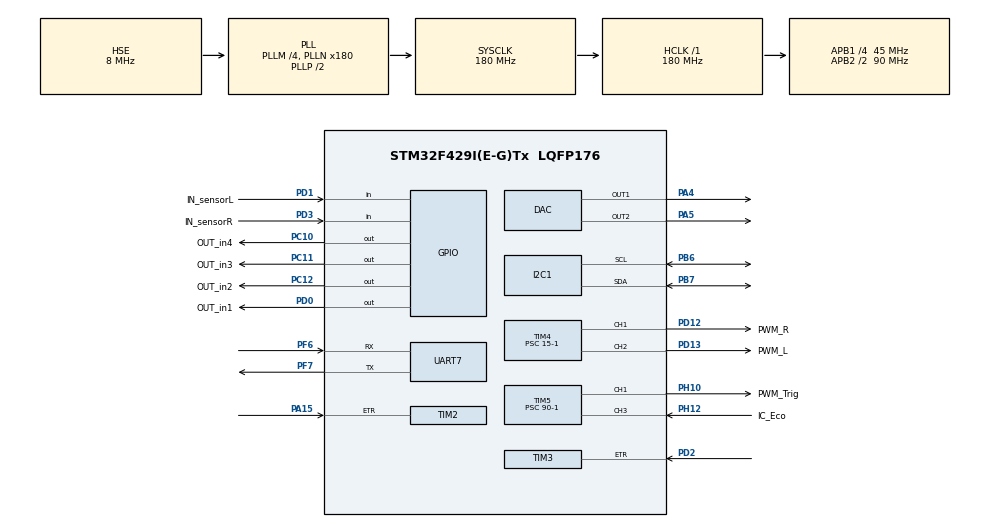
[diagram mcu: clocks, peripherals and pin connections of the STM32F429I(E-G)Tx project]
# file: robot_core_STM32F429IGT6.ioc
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I2C1.I2C_Mode=I2C_Fast
Mcu.Family=STM32F4
Mcu.Name=STM32F429I(E-G)Tx
Mcu.Package=LQFP176
NVIC.PriorityGroup=NVIC_PRIORITYGROUP_4
NVIC.TIM5_IRQn=true\:0\:0\:false\:false\:true\:true\:true\:true
NVIC.TIM7_IRQn=true\:0\:0\:false\:false\:true\:true\:true\:true
NVIC.UART7_IRQn=true\:0\:0\:false\:false\:true\:true\:true\:true
PA13.Mode=Serial_Wire
PA13.Signal=SYS_JTMS-SWDIO
PA14.Mode=Serial_Wire
PA14.Signal=SYS_JTCK-SWCLK
PA15.Signal=S_TIM2_CH1_ETR
PA4.Signal=COMP_DAC1_group
PA5.Signal=COMP_DAC2_group
PB6.Mode=I2C
PB6.Signal=I2C1_SCL
PB7.Mode=I2C
PB7.Signal=I2C1_SDA
PC10.GPIO_Label=OUT_in4
PC10.Signal=GPIO_Output
PC11.GPIO_Label=OUT_in3
PC11.Signal=GPIO_Output
PC12.GPIO_Label=OUT_in2
PC12.Signal=GPIO_Output
PD0.GPIO_Label=OUT_in1
PD0.Signal=GPIO_Output
PD1.GPIO_Label=IN_sensorL
PD1.GPIO_PuPd=GPIO_PULLUP
PD1.Signal=GPIO_Input
PD12.GPIO_Label=PWM_R
PD12.Signal=S_TIM4_CH1
PD13.GPIO_Label=PWM_L
PD13.Signal=S_TIM4_CH2
PD2.Signal=S_TIM3_ETR
PD3.GPIO_Label=IN_sensorR
PD3.GPIO_PuPd=GPIO_PULLUP
PD3.Signal=GPIO_Input
PF6.Mode=Asynchronous
PF6.Signal=UART7_RX
PF7.Mode=Asynchronous
PF7.Signal=UART7_TX
PH0/OSC_IN.Mode=HSE-External-Oscillator
PH0/OSC_IN.Signal=RCC_OSC_IN
PH1/OSC_OUT.Mode=HSE-External-Oscillator
PH1/OSC_OUT.Signal=RCC_OSC_OUT
PH10.GPIO_Label=PWM_Trig
PH10.Signal=S_TIM5_CH1
PH12.GPIO_Label=IC_Eco
PH12.Signal=S_TIM5_CH3
ProjectManager.HeapSize=0x200
ProjectManager.StackSize=0x400
ProjectManager.TargetToolchain=STM32CubeIDE
RCC.48MHZClocksFreq_Value=90000000
RCC.AHBFreq_Value=180000000
RCC.APB1CLKDivider=RCC_HCLK_DIV4
RCC.APB1Freq_Value=45000000
RCC.APB1TimFreq_Value=90000000
RCC.APB2CLKDivider=RCC_HCLK_DIV2
RCC.APB2Freq_Value=90000000
RCC.APB2TimFreq_Value=180000000
RCC.CortexFreq_Value=180000000
RCC.HCLKFreq_Value=180000000
RCC.HSE_VALUE=8000000
RCC.HSI_VALUE=16000000
RCC.LSE_VALUE=32768
RCC.PLLM=4
RCC.PLLN=180
RCC.PLLSourceVirtual=RCC_PLLSOURCE_HSE
RCC.SYSCLKFreq_VALUE=180000000
RCC.SYSCLKSource=RCC_SYSCLKSOURCE_PLLCLK
RCC.VCOOutputFreq_Value=360000000
SH.COMP_DAC1_group.0=DAC_OUT1,DAC_OUT1
SH.COMP_DAC2_group.0=DAC_OUT2,DAC_OUT2
SH.S_TIM2_CH1_ETR.0=TIM2_ETR,ClockSourceETR_Mode2
SH.S_TIM3_ETR.0=TIM3_ETR,ClockSourceETR_Mode2
SH.S_TIM4_CH1.0=TIM4_CH1,PWM Generation1 CH1
SH.S_TIM4_CH2.0=TIM4_CH2,PWM Generation2 CH2
SH.S_TIM5_CH1.0=TIM5_CH1,PWM Generation1 CH1
SH.S_TIM5_CH3.0=TIM5_CH3,Input_Capture4_from_TI3
SH.S_TIM5_CH3.1=TIM5_CH3,Input_Capture3_from_TI3
TIM4.Channel-PWM\ Generation1\ CH1=TIM_CHANNEL_1
TIM4.Channel-PWM\ Generation2\ CH2=TIM_CHANNEL_2
TIM4.Period=200-1
TIM4.Prescaler=15-1
TIM4.Pulse-PWM\ Generation1\ CH1=72-1
TIM4.Pulse-PWM\ Generation2\ CH2=72-1
TIM5.Channel-Input_Capture3_from_TI3=TIM_CHANNEL_3
TIM5.Channel-Input_Capture4_from_TI3=TIM_CHANNEL_4
TIM5.Channel-PWM\ Generation1\ CH1=TIM_CHANNEL_1
TIM5.ICPolarity_CH4=TIM_INPUTCHANNELPOLARITY_FALLING
TIM5.OCPolarity_1=TIM_OCPOLARITY_LOW
TIM5.Prescaler=90-1
TIM5.Pulse-PWM\ Generation1\ CH1=0xFFFFFFF5
TIM7.Period=1000-1
TIM7.Prescaler=900-1
UART7.VirtualMode=Asynchronous
VP_TIM4_VS_ClockSourceINT.Mode=Internal
VP_TIM5_VS_ClockSourceINT.Mode=Internal
VP_TIM7_VS_ClockSourceINT.Mode=Enable_Timer
board=custom

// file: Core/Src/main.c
/* USER CODE BEGIN Header */
/**
  ******************************************************************************
  * @file           : main.c
  * @brief          : Main program body
  ******************************************************************************
  * @attention
  *
  * <h2><center>&copy; Copyright (c) 2022 STMicroelectronics.
  * All rights reserved.</center></h2>
  *
  * This software component is licensed by ST under BSD 3-Clause license,
  * the "License"; You may not use this file except in compliance with the
  * License. You may obtain a copy of the License at:
  *                        opensource.org/licenses/BSD-3-Clause
  *
  ******************************************************************************
  */
/* USER CODE END Header */
#include "main.h"
#include "dac.h"
#include "i2c.h"
#include "tim.h"
#include "usart.h"
#include "gpio.h"

/* USER CODE BEGIN Includes */
#include "comandosUart.h"
#include "comunicacionUART.h"
#include "mpu_9265_lfs.h"
#include "stdlib.h"
#include "math.h"
#include "stdio.h"
#include "stm32f4xx_ll_usart.h"
/* USER CODE END Includes */

/* USER CODE BEGIN PTD */
typedef enum{
	QUIETO,
	AVANZANDO,
	RETROCEDIENDO,
	ROTANDO_IZQ,
	ROTANDO_DER,
	PIVOTE_IZQ_AVAN,
	PIVOTE_DER_AVAN,
	PIVOTE_IZQ_RETR,
	PIVOTE_DER_RETR,
}T_MOV;

/* USER CODE END PTD */

/* USER CODE BEGIN PD */
#define DIAMETRO_RUEDAS 	65  //en mm
#define RANURAS_ENCODER		20  //vuelta completa
#define AVANCE_X_PULSO		10  //en mm
#define AVANCE_X_PULSO_F	10.21 //float en mm
#define DIAMETRO_ACRILICO	130 //en mm
#define ANCHO_TOTAL			156 //156,6 mm
#define DISTANCIA_RUEDAS	125.0 //float en mm
#define RADIANES_X_PULSO	0.081681408993334 //float en radianes
/* USER CODE END PD */

/* USER CODE BEGIN PM */
#define TRIG_SR04 ( __HAL_TIM_SET_COUNTER(&htim5, 0xFFFFFFF5) )
/* USER CODE END PM */

/* USER CODE BEGIN PV */

//variables de calibracion del magnetometro//
volatile uint8_t estatus_calibraMag = 0;
volatile uint16_t periodo_calibraMag = 0xFFFF;

//variables de mov_puntoAPunto//
volatile uint8_t estatusPuntoAPunto = 0;
volatile uint16_t ticks_PuntoAPunto = 0xFFFF;
uint8_t flag_dest = 0; //indica si hay un destino establecido.
float anguloDest_rad_f32; //angulo a la coordenanda de destino desde la posicion actual.
float anguloDest_grad_f32;
int32_t anguloDest_grad_i32;
int32_t deltaAng_dest;
float deltaX_dest;
float deltaY_dest;

//comunicacion//
uint8_t rxUart[MAX_RX];
uint8_t size_rxUart;
uint8_t flag_cmd = 0;
uint8_t txUart[MAX_TX];
uint8_t flag_esp01Presente = 0;

//modo de funcionamiento//
T_MODO modoFuncionamiento= MANUAL;

//prueba//
uint8_t read_button = 1;
uint8_t last_button = 1;
uint32_t last_cuentaTIM7=0;
uint32_t duracionWhile1 = 0; // en 10 * ns
uint8_t flag_quieto = 0;

//movimiento//
T_MOV status_movimiento = QUIETO;
T_MOV last_movimiento = QUIETO;
int16_t distL; //distancia relativa de la rueda izquierda en ranuras cada 210 ms.
int16_t distR; //distancia relativa de la rueda derecha en ranuras cada 210 ms.
int16_t distC = 0; //distancia relativa del centro en ranuras cada 210 ms.

//mpu9265//
uint8_t flag_IMUPresente = 0;
uint8_t flag_muestreoIMU = 0;
mpuData_t mpu9265;
int32_t sum_magX, sum_magY; //para promediar
float magX, magY;
float magX_min = 1000, magX_max = -1000;
float magY_min = 1000, magY_max = -1000;
float magX_media = 0, magY_media = 0;
float magX_range = 1, magY_range = 1;
float direccionMag_rad_f32;
float direccionMag_grad_f32;
int16_t direccionMag_grad_i16;

float gyroZ, modGyroZ;
float direccionGiro_rad_f32;
float direccionGiro_grad_f32;
int16_t direccionGiro_grad_i16;

//filtro complementario//
float coef_gyro = 0.0; //0.98;
float coef_mag = 1.0; //0.02;
float alfa_filtroCompl = 0.1;

//filtro IIR//
//beta = 1 - exp(-Ts/tau) ; Ts = 210 ms
//float betaIIR = 0.508; // con tau = 0.3
//float betaIIR = 0.426; // con tau = 0.4
//float betaIIR = 0.343; // con tau = 0.5
//float betaIIR = 0.295; // con tau = 0.6
//float betaIIR = 0.259; // con tau = 0.7
//float betaIIR = 0.232; // con tau = 0.8
//float betaIIR = 0.210; // con tau = 0.9
float betaIIR = 0.189; // con tau = 1.0
uint8_t flag_iniciaIIR = 1;
float raw_magX;
float raw_magY;
float magX_iirX0;
float magX_iirY1;
float magY_iirX0;
float magY_iirY1;

float direccion_f32;
float last_direccion_f32;
float direccion_rad;
float direccion_grad;
int16_t direccion_i16;
int16_t direccion_home = 0;
int16_t direccion_dest;

//desplazamientos manuales//
uint16_t avance_cant = 0;
uint16_t retroceso_cant = 0;
uint16_t giroIzq_cant = 0;
uint16_t giroDer_cant = 0;

//coordenadas//
uint8_t pos_x;
uint8_t pos_y;
uint8_t pos_ang;
float posX_f32 = 0;
float posY_f32 = 0;
int16_t posX_i16;
int16_t posY_i16;
int16_t posX_home = 0;
int16_t posY_home = 0;
int16_t posX_dest;
int16_t posY_dest;

//sensores//
uint8_t SI, SF, SD;
uint8_t sensores_dist = 0;

//ticks//
uint8_t desbordeTIM7 = 0; //desborda cada 10 ms.
uint8_t periodo_muestrasOdometria = 7;
uint8_t periodo_SR04 = 0;
uint8_t periodo_pos = 7; //offset para operar en simultaneo con el periodo encoder
uint8_t flag_checkUart = 0;

//SR-04//
uint32_t ic1 = 0;
uint32_t ic2 = 0;
uint8_t flancoEco_SR04 = 0; //cuando cuenta 2, detectó ambos flancos. Valores mayores, son errores.
int32_t cuentaPulsos = 0;
uint16_t distanciaSR04 = 0; //distancia en cm.

//encoders//
int16_t encoderL;
int16_t encoderR;
int16_t encoderL_delta;
int16_t encoderR_delta;
int16_t acum_encoderL = 0;
int16_t acum_encoderR = 0;
int16_t encoderL_memPositivo = 0;
int16_t encoderR_memPositivo = 0;
int16_t encoderL_memNegativo = 0;
int16_t encoderR_memNegativo = 0;

//velocidades//
int8_t velL = 0; //5; //en ranuras cada 210 ms
int8_t velR = 0; //5; //en ranuras cada 210 ms
uint8_t velLFinal = 5; //en ranuras cada 210 ms
uint8_t velRFinal = 5; //en ranuras cada 210 ms

//muestreo//
uint8_t flag_nuevasMuestras = 0;

/* USER CODE END PV */

void SystemClock_Config(void);
/* USER CODE BEGIN PFP */
void sensores (void);
void movimientoLibre (void);
void movimientoRC (void);
void calibraMag (void);
void mov_puntoAPunto (void);
void modo_funcionamiento (void);
void velocidades (int8_t, int8_t);
void encoders_PWM (void);
void lecturaMPU9265 (void);
void posicionamiento (void);
void aceleracion (void);

void init_sensorDistancia(void);
void init_IMU(void);
void init_encoders(void);
void init_controlMotores(void);
void init_timersNecesarios(void);
void init_comESP01(void);

//punteros a funcion:
void (*lecturaIMU) (void) = mpu9265_dummy;

/* USER CODE END PFP */

int main(void)
{

  /* MCU Configuration--------------------------------------------------------*/

  /* Reset of all peripherals, Initializes the Flash interface and the Systick. */
  HAL_Init();

  /* Configure the system clock */
  SystemClock_Config();

  /* Initialize all configured peripherals */
  MX_GPIO_Init();
  MX_DAC_Init();
  MX_TIM2_Init();
  MX_TIM3_Init();
  MX_TIM4_Init();
  MX_TIM5_Init();
  MX_UART7_Init();
  MX_TIM7_Init();
  MX_I2C1_Init();
  /* USER CODE BEGIN 2 */

//  flag_quieto = 1; //comentar para que se mueva el robot

  HAL_TIM_Base_Start_IT(&htim7); //desborda cada 10 ms.

  HAL_TIM_Base_Start(&htim2); //encoder R.
  HAL_TIM_Base_Start(&htim3); //encoder L.

  HAL_TIM_PWM_Start(&htim4, TIM_CHANNEL_1); //rueda izquierda.
  HAL_TIM_PWM_Start(&htim4, TIM_CHANNEL_2); //rueda derecha.

  HAL_TIM_Base_Start(&htim5); //control del SR-04.
  HAL_TIM_PWM_Start(&htim5, TIM_CHANNEL_1); //para el pulso del trigger.
  HAL_TIM_IC_Start_IT(&htim5, TIM_CHANNEL_3); //para capturar el eco (flanco ascendente).
  HAL_TIM_IC_Start_IT(&htim5, TIM_CHANNEL_4); //para capturar el eco (flanco descendente).

  HAL_Delay(200); //espera previa para garantizar el correcto encendido del MPU9265
  if ( !mpu9265_Init(&hi2c1) ){
	  flag_IMUPresente = 1;
	  lecturaIMU = lecturaMPU9265;
  }

  init_controlRxTx (&huart7);
  HAL_Delay(200); //mas de 1ms para omitir la basura del arranque del ESP01
  LL_USART_EnableIT_IDLE(UART7);
  HAL_UART_Receive_IT(&huart7, rxUart, MAX_RX);

  if (!flag_esp01Presente) {
	  modoFuncionamiento = AUTOMATICO;
  }else{
	  modoFuncionamiento = MANUAL;
  }
  if (flag_IMUPresente != 0) modoFuncionamiento = CALIBRA_MAG;
//  modoFuncionamiento = MANUAL;

  /* USER CODE END 2 */

  /* Infinite loop */
  /* USER CODE BEGIN WHILE */
  while (1)
  {
	  modo_funcionamiento();
	  sensores(); //SR04 e infrarrojos
	  velocidades(velL, velR);

	  if (desbordeTIM7 != 0){ //cada 10 ms

		  periodo_muestrasOdometria += desbordeTIM7;
		  periodo_SR04 += desbordeTIM7;
		  periodo_pos += desbordeTIM7;
		  desbordeTIM7 = 0;

		  if (periodo_muestrasOdometria > 21){ // en 10 * ms
			  lecturaIMU();
			  encoders_PWM();
			  flag_nuevasMuestras = 1;
			  periodo_muestrasOdometria = 0;
		  }

		  if (periodo_pos > 21){
			  if (flag_IMUPresente != 0) posicionamiento();
			  periodo_pos = 0;
		  }
		  if (periodo_SR04 > 21){
			  TRIG_SR04;
			  periodo_SR04 = 0;
		  }

		  //para la funcion orientando (comentar cuando no se requiera):
		  if (periodo_calibraMag != 0) periodo_calibraMag--;
		  if (ticks_PuntoAPunto != 0) ticks_PuntoAPunto--;

		  //valida que la uart no tenga el buffer a medio llenar (trama desfasada)
//		  if (huart7.RxXferCount != 8){
//			  if (!flag_checkUart){
//				  flag_checkUart = 1;
//			  }else{
//				  HAL_UART_AbortReceive_IT(&huart7);
//				  flag_cmd = 0;
//				  HAL_UART_Receive_IT(&huart7, rxUart, 8);
//			  }
//		  }else{
//			  flag_checkUart = 0;
//		  } //end if huart7.RxXferCount

	  } //fin if desbordeTIM7

	  //comunicacion ESP01
	  if (flag_cmd != 0){
//		  controlRxTxUART(rxUart);
		  procesaCmd(rxUart, size_rxUart);
		  flag_cmd = 0;
	  }

	  //cuenta duracion del bucle
	  duracionWhile1 = TIM7->CNT - last_cuentaTIM7;
	  last_cuentaTIM7 = TIM7->CNT;

    /* USER CODE END WHILE */

  }
}

void SystemClock_Config(void)
{
  RCC_OscInitTypeDef RCC_OscInitStruct = {0};
  RCC_ClkInitTypeDef RCC_ClkInitStruct = {0};

  /** Configure the main internal regulator output voltage
  */
  __HAL_RCC_PWR_CLK_ENABLE();
  __HAL_PWR_VOLTAGESCALING_CONFIG(PWR_REGULATOR_VOLTAGE_SCALE1);
  /** Initializes the RCC Oscillators according to the specified parameters
  * in the RCC_OscInitTypeDef structure.
  */
  RCC_OscInitStruct.OscillatorType = RCC_OSCILLATORTYPE_LSI|RCC_OSCILLATORTYPE_HSE;
  RCC_OscInitStruct.HSEState = RCC_HSE_ON;
  RCC_OscInitStruct.LSIState = RCC_LSI_ON;
  RCC_OscInitStruct.PLL.PLLState = RCC_PLL_ON;
  RCC_OscInitStruct.PLL.PLLSource = RCC_PLLSOURCE_HSE;
  RCC_OscInitStruct.PLL.PLLM = 4;
  RCC_OscInitStruct.PLL.PLLN = 180;
  RCC_OscInitStruct.PLL.PLLP = RCC_PLLP_DIV2;
  RCC_OscInitStruct.PLL.PLLQ = 4;
  if (HAL_RCC_OscConfig(&RCC_OscInitStruct) != HAL_OK)
  {
    Error_Handler();
  }
  /** Activate the Over-Drive mode
  */
  if (HAL_PWREx_EnableOverDrive() != HAL_OK)
  {
    Error_Handler();
  }
  /** Initializes the CPU, AHB and APB buses clocks
  */
  RCC_ClkInitStruct.ClockType = RCC_CLOCKTYPE_HCLK|RCC_CLOCKTYPE_SYSCLK
                              |RCC_CLOCKTYPE_PCLK1|RCC_CLOCKTYPE_PCLK2;
  RCC_ClkInitStruct.SYSCLKSource = RCC_SYSCLKSOURCE_PLLCLK;
  RCC_ClkInitStruct.AHBCLKDivider = RCC_SYSCLK_DIV1;
  RCC_ClkInitStruct.APB1CLKDivider = RCC_HCLK_DIV4;
  RCC_ClkInitStruct.APB2CLKDivider = RCC_HCLK_DIV2;

  if (HAL_RCC_ClockConfig(&RCC_ClkInitStruct, FLASH_LATENCY_5) != HAL_OK)
  {
    Error_Handler();
  }
}

/* USER CODE BEGIN 4 */
void HAL_TIM_PeriodElapsedCallback(TIM_HandleTypeDef *htim){
	if (htim->Instance==TIM7){
		desbordeTIM7++;
	}
}

void HAL_TIM_IC_CaptureCallback(TIM_HandleTypeDef *htim){
	if (htim->Channel == HAL_TIM_ACTIVE_CHANNEL_3){
		ic1 = htim->Instance->CCR3;
		flancoEco_SR04++;
	}

	if (htim->Channel == HAL_TIM_ACTIVE_CHANNEL_4){
		ic2 = htim->Instance->CCR4;
		flancoEco_SR04++;
	}
}

void HAL_UART_RxCpltCallback(UART_HandleTypeDef *huart){
	if (LL_USART_IsActiveFlag_IDLE(UART7)){
		uint8_t dummyRead = UART7->DR; //para deshabilitar el flag IDLE
		(void) dummyRead;
		size_rxUart = MAX_RX - huart7.RxXferCount;
		HAL_UART_AbortReceive_IT(&huart7);
		flag_cmd = 1;
	} //end if IDLE

} //end HAL_UART_RxCpltCallback ()

void sensores (void){

	switch (flancoEco_SR04){
		case 0:
		case 1:
			return;
		case 2:
			cuentaPulsos = (int32_t)(ic2 - ic1);
			if (cuentaPulsos < 23310){
				distanciaSR04 = cuentaPulsos * 34 / 2000;
			}else{
				distanciaSR04 = 400;
			}
			flancoEco_SR04 = 0;
		break;
		default:
			flancoEco_SR04 = 0;
		break;
	} //end switch flancoEco_SR04

	//sensores_dist = SI << 2 | SF << 1 | SD (logica negativa)
	SI = (HAL_GPIO_ReadPin(IN_sensorL_GPIO_Port, IN_sensorL_Pin)) ;
	SD = HAL_GPIO_ReadPin(IN_sensorR_GPIO_Port, IN_sensorR_Pin);
	if (distanciaSR04 < 25) SF = 0; else SF = 1;

	sensores_dist = SI << 2 | SF << 1 | SD;
} //end sensores()

void aceleracion (void){
	if (velL < velLFinal) velL++;

} //end aceleracion()

void movimientoLibre (void){

	if (avance_cant != 0) avance_cant = 0;
	if (retroceso_cant != 0) retroceso_cant = 0;
	if (giroIzq_cant != 0) giroIzq_cant = 0;
	if (giroDer_cant != 0) giroDer_cant = 0;

	switch (status_movimiento) {
		case QUIETO:

//			HAL_GPIO_WritePin(OUT_in1_GPIO_Port, OUT_in1_Pin, 0);
//			HAL_GPIO_WritePin(OUT_in4_GPIO_Port, OUT_in4_Pin, 0);
//
//			HAL_GPIO_WritePin(OUT_in2_GPIO_Port, OUT_in2_Pin, 0);
//			HAL_GPIO_WritePin(OUT_in3_GPIO_Port, OUT_in3_Pin, 0);

			velL = 0;
			velR = 0;
			//periodo_Encoder = 0;

			status_movimiento = AVANZANDO;
		break;
		case AVANZANDO:

//			HAL_GPIO_WritePin(OUT_in1_GPIO_Port, OUT_in1_Pin, 1);
//			HAL_GPIO_WritePin(OUT_in4_GPIO_Port, OUT_in4_Pin, 1);
//
//			HAL_GPIO_WritePin(OUT_in2_GPIO_Port, OUT_in2_Pin, 0);
//			HAL_GPIO_WritePin(OUT_in3_GPIO_Port, OUT_in3_Pin, 0);

			velL = 5;
			velR = 5;

			switch (sensores_dist) {
				case 0b110:
					//agregado para prueba
					//status_movimiento = PIVOTE_IZQ_AVAN;
					status_movimiento = ROTANDO_IZQ;

					encoderL_memPositivo += __HAL_TIM_GET_COUNTER(&htim3);
					__HAL_TIM_SET_COUNTER(&htim3, 0);

				break;
				case 0b101:
				case 0b100:
				case 0b000:
					status_movimiento = ROTANDO_IZQ;

					encoderL_memPositivo += __HAL_TIM_GET_COUNTER(&htim3);
					__HAL_TIM_SET_COUNTER(&htim3, 0);
				break;
				case 0b011:
					//agregado para prueba
					//status_movimiento = PIVOTE_DER_AVAN;
					status_movimiento = ROTANDO_DER;

					encoderR_memPositivo += __HAL_TIM_GET_COUNTER(&htim2);
					__HAL_TIM_SET_COUNTER(&htim2, 0);

				break;
				case 0b001:
					status_movimiento = ROTANDO_DER;

					encoderR_memPositivo += __HAL_TIM_GET_COUNTER(&htim2);
					__HAL_TIM_SET_COUNTER(&htim2, 0);

				break;
				default:
				break;
			} //end switch sensores_dist

		break;
		case ROTANDO_IZQ:

//			HAL_GPIO_WritePin(OUT_in1_GPIO_Port, OUT_in1_Pin, 0);
//			HAL_GPIO_WritePin(OUT_in4_GPIO_Port, OUT_in4_Pin, 1);
//
//			HAL_GPIO_WritePin(OUT_in2_GPIO_Port, OUT_in2_Pin, 1);
//			HAL_GPIO_WritePin(OUT_in3_GPIO_Port, OUT_in3_Pin, 0);

			velL = -5;
			velR = 5;

			switch (sensores_dist){
				case 0b111:
					status_movimiento = AVANZANDO;

					encoderL_memNegativo += __HAL_TIM_GET_COUNTER(&htim3);
					__HAL_TIM_SET_COUNTER(&htim3, 0);

					break;
				case 0b011:
					status_movimiento = ROTANDO_DER;

					encoderL_memNegativo += __HAL_TIM_GET_COUNTER(&htim3);
					__HAL_TIM_SET_COUNTER(&htim3, 0);
					encoderR_memPositivo += __HAL_TIM_GET_COUNTER(&htim2);
					__HAL_TIM_SET_COUNTER(&htim2, 0);

				default:
					break;
			} //end switch sensores_dist

		break;
		case ROTANDO_DER:
//			HAL_GPIO_WritePin(OUT_in1_GPIO_Port, OUT_in1_Pin, 1);
//			HAL_GPIO_WritePin(OUT_in4_GPIO_Port, OUT_in4_Pin, 0);
//
//			HAL_GPIO_WritePin(OUT_in2_GPIO_Port, OUT_in2_Pin, 0);
//			HAL_GPIO_WritePin(OUT_in3_GPIO_Port, OUT_in3_Pin, 1);

			velL = 5;
			velR = -5;

			switch (sensores_dist){
				case 0b111:
					status_movimiento = AVANZANDO;

					encoderR_memNegativo += __HAL_TIM_GET_COUNTER(&htim2);
					__HAL_TIM_SET_COUNTER(&htim2, 0);

					break;
				case 0b110:
					status_movimiento = ROTANDO_IZQ;

					encoderL_memPositivo += __HAL_TIM_GET_COUNTER(&htim3);
					__HAL_TIM_SET_COUNTER(&htim3, 0);
					encoderR_memNegativo += __HAL_TIM_GET_COUNTER(&htim2);
					__HAL_TIM_SET_COUNTER(&htim2, 0);

				default:
					break;
			} //end switch sensores_dist

		break;
		case RETROCEDIENDO:
//			HAL_GPIO_WritePin(OUT_in1_GPIO_Port, OUT_in1_Pin, 0);
//			HAL_GPIO_WritePin(OUT_in4_GPIO_Port, OUT_in4_Pin, 0);
//
//			HAL_GPIO_WritePin(OUT_in2_GPIO_Port, OUT_in2_Pin, 1);
//			HAL_GPIO_WritePin(OUT_in3_GPIO_Port, OUT_in3_Pin, 1);

			velL = -5;
			velR = -5;

			status_movimiento = AVANZANDO;
			break;
		case PIVOTE_IZQ_AVAN:
//			HAL_GPIO_WritePin(OUT_in1_GPIO_Port, OUT_in1_Pin, 0);
//			HAL_GPIO_WritePin(OUT_in4_GPIO_Port, OUT_in4_Pin, 1);
//
//			HAL_GPIO_WritePin(OUT_in2_GPIO_Port, OUT_in2_Pin, 0);
//			HAL_GPIO_WritePin(OUT_in3_GPIO_Port, OUT_in3_Pin, 0);

			velL = 0;
			velR = 5;

			switch (sensores_dist){
				case 0b111:
					status_movimiento = AVANZANDO;
				break;
				case 0b011:
					status_movimiento = ROTANDO_DER;
				break;
				case 0b100:
					status_movimiento = ROTANDO_IZQ;
				default:
				break;
			} //end switch sensores_dist

		break;
		case PIVOTE_DER_AVAN:
//			HAL_GPIO_WritePin(OUT_in1_GPIO_Port, OUT_in1_Pin, 1);
//			HAL_GPIO_WritePin(OUT_in4_GPIO_Port, OUT_in4_Pin, 0);
//
//			HAL_GPIO_WritePin(OUT_in2_GPIO_Port, OUT_in2_Pin, 0);
//			HAL_GPIO_WritePin(OUT_in3_GPIO_Port, OUT_in3_Pin, 0);

			velL = 5;
			velR = 0;

			switch (sensores_dist){
				case 0b111:
					status_movimiento = AVANZANDO;
				break;
				case 0b110:
					status_movimiento = ROTANDO_IZQ;
				break;
				case 0b001:
					status_movimiento = ROTANDO_DER;
				default:
				break;
			} //end switch sensores_dist

		default:
		break;

	} //fin switch status_movimiento

} //fin movimientoLibre()

void movimientoRC (void){

	if (!avance_cant && !retroceso_cant && !giroIzq_cant && !giroDer_cant ){
		status_movimiento = QUIETO;
	}

	switch (status_movimiento) {
		case QUIETO:

//			HAL_GPIO_WritePin(OUT_in1_GPIO_Port, OUT_in1_Pin, 0);
//			HAL_GPIO_WritePin(OUT_in4_GPIO_Port, OUT_in4_Pin, 0);
//
//			HAL_GPIO_WritePin(OUT_in2_GPIO_Port, OUT_in2_Pin, 0);
//			HAL_GPIO_WritePin(OUT_in3_GPIO_Port, OUT_in3_Pin, 0);

			velL = 0;
			velR = 0;

			//periodo_muestrasOdometria = 0;

			if (avance_cant != 0){
				acum_encoderL = 0;
				acum_encoderR = 0;
				status_movimiento = AVANZANDO;
				break;
			}

			if (retroceso_cant != 0){
				acum_encoderL = 0;
				acum_encoderR = 0;
				status_movimiento = RETROCEDIENDO;
				break;
			}

			if (giroIzq_cant != 0){
				acum_encoderL = 0;
				acum_encoderR = 0;
				status_movimiento = ROTANDO_IZQ;
				break;
			}

			if (giroDer_cant != 0){
				acum_encoderL = 0;
				acum_encoderR = 0;
				status_movimiento = ROTANDO_DER;
				break;
			}

		break;
		case AVANZANDO:

//			HAL_GPIO_WritePin(OUT_in1_GPIO_Port, OUT_in1_Pin, 1);
//			HAL_GPIO_WritePin(OUT_in4_GPIO_Port, OUT_in4_Pin, 1);
//
//			HAL_GPIO_WritePin(OUT_in2_GPIO_Port, OUT_in2_Pin, 0);
//			HAL_GPIO_WritePin(OUT_in3_GPIO_Port, OUT_in3_Pin, 0);

			velL = 5;
			velR = 5;

			if (avance_cant > ((acum_encoderL + acum_encoderR) >> 1) ) break;

			avance_cant = 0;

			status_movimiento = QUIETO;

			if (retroceso_cant != 0){
				acum_encoderL = 0;
				acum_encoderR = 0;
				status_movimiento = RETROCEDIENDO;
				break;
			}

			if (giroIzq_cant != 0){
				acum_encoderL = 0;
				acum_encoderR = 0;
				status_movimiento = ROTANDO_IZQ;
				break;
			}

			if (giroDer_cant != 0){
				acum_encoderL = 0;
				acum_encoderR = 0;
				status_movimiento = ROTANDO_DER;
				break;
			}

		break;
		case ROTANDO_IZQ:

//			HAL_GPIO_WritePin(OUT_in1_GPIO_Port, OUT_in1_Pin, 0);
//			HAL_GPIO_WritePin(OUT_in4_GPIO_Port, OUT_in4_Pin, 1);
//
//			HAL_GPIO_WritePin(OUT_in2_GPIO_Port, OUT_in2_Pin, 1);
//			HAL_GPIO_WritePin(OUT_in3_GPIO_Port, OUT_in3_Pin, 0);

			velL = -5;
			velR = 5;

			if (giroIzq_cant > ((acum_encoderL + acum_encoderR) >> 1) ) break;

			giroIzq_cant = 0;

			status_movimiento = QUIETO;

			if (avance_cant != 0){
				acum_encoderL = 0;
				acum_encoderR = 0;
				status_movimiento = AVANZANDO;
				break;
			}

			if (retroceso_cant != 0){
				acum_encoderL = 0;
				acum_encoderR = 0;
				status_movimiento = RETROCEDIENDO;
				break;
			}

			if (giroDer_cant != 0){
				acum_encoderL = 0;
				acum_encoderR = 0;
				status_movimiento = ROTANDO_DER;
				break;
			}

		break;
		case ROTANDO_DER:
//			HAL_GPIO_WritePin(OUT_in1_GPIO_Port, OUT_in1_Pin, 1);
//			HAL_GPIO_WritePin(OUT_in4_GPIO_Port, OUT_in4_Pin, 0);
//
//			HAL_GPIO_WritePin(OUT_in2_GPIO_Port, OUT_in2_Pin, 0);
//			HAL_GPIO_WritePin(OUT_in3_GPIO_Port, OUT_in3_Pin, 1);

			velL = 5;
			velR = -5;

			if (giroDer_cant > ((acum_encoderL + acum_encoderR) >> 1) ) break;

			giroDer_cant = 0;

			status_movimiento = QUIETO;

			if (avance_cant != 0){
				acum_encoderL = 0;
				acum_encoderR = 0;
				status_movimiento = AVANZANDO;
				break;
			}

			if (retroceso_cant != 0){
				acum_encoderL = 0;
				acum_encoderR = 0;
				status_movimiento = RETROCEDIENDO;
				break;
			}

			if (giroIzq_cant != 0){
				acum_encoderL = 0;
				acum_encoderR = 0;
				status_movimiento = ROTANDO_IZQ;
				break;
			}

		break;
		case RETROCEDIENDO:
//			HAL_GPIO_WritePin(OUT_in1_GPIO_Port, OUT_in1_Pin, 0);
//			HAL_GPIO_WritePin(OUT_in4_GPIO_Port, OUT_in4_Pin, 0);
//
//			HAL_GPIO_WritePin(OUT_in2_GPIO_Port, OUT_in2_Pin, 1);
//			HAL_GPIO_WritePin(OUT_in3_GPIO_Port, OUT_in3_Pin, 1);

			velL = -5;
			velR = -5;

			if (retroceso_cant > ((acum_encoderL + acum_encoderR) >> 1) ) break;

			retroceso_cant = 0;

			status_movimiento = QUIETO;

			if (avance_cant != 0){
				acum_encoderL = 0;
				acum_encoderR = 0;
				status_movimiento = AVANZANDO;
				break;
			}

			if (giroIzq_cant != 0){
				acum_encoderL = 0;
				acum_encoderR = 0;
				status_movimiento = ROTANDO_IZQ;
				break;
			}

			if (giroDer_cant != 0){
				acum_encoderL = 0;
				acum_encoderR = 0;
				status_movimiento = ROTANDO_DER;
				break;
			}

		break;
		case PIVOTE_IZQ_AVAN:

		break;
		case PIVOTE_DER_AVAN:

		default:
		break;

	} //fin switch status_movimiento

} //fin movimientoRC()

void calibraMag (void){

	//checkeo del estatud de calibración
	switch (estatus_calibraMag) {
		case 0:
			magX_min = 1000; magX_max = -1000;
			magY_min = 1000; magY_max = -1000;
			magX_media = 1; magY_media = 1;
			magX_range = 1; magY_range = 1;
			acum_encoderL = 0;
			acum_encoderR = 0;
			velL = -4;
			velR = +4;
			giroIzq_cant = 170;
			estatus_calibraMag = 1;
		break;
		case 1:
			if (giroIzq_cant < ((acum_encoderL + acum_encoderR) >> 1) ){
				velL = 0;
				velR = 0;
				giroIzq_cant = 0;
				estatus_calibraMag = 2;
				periodo_calibraMag = 200;
			}

			if (raw_magX < magX_min) magX_min = raw_magX;
			if (raw_magX > magX_max) magX_max = raw_magX;
			if (raw_magY < magY_min) magY_min = raw_magY;
			if (raw_magY > magY_max) magY_max = raw_magY;
			magX_media = (magX_min + magX_max) / 2.0;
			magY_media = (magY_min + magY_max) / 2.0;
			magX_range = (magX_max - magX_min) / 1.0;
			magY_range = (magY_max - magY_min) / 1.0;
		break;
		case 2:
			if (!periodo_calibraMag){
				estatus_calibraMag = 3;
			}
		break;
		case 3:
			if (direccion_i16 > 17){
				velL = +4;
				velR = -4;
			}else if (direccion_i16 < -17){
				velL = -4;
				velR = +4;
			}else{
				velL = 0;
				velR = 0;
				estatus_calibraMag = 4;
			}

		break;
		case 4:
			direccionGiro_rad_f32 = direccionMag_rad_f32;
			modoFuncionamiento = MANUAL;
			estatus_calibraMag = 0;
			sprintf((char*)txUart, "modMAN");
			send_info(txUart);
		break;
		default:
		break;
	} //fin switch estatus_calibraMag

} //fin calibraMag ()

void mov_puntoAPunto (void){

	if (!flag_dest) estatusPuntoAPunto = 0;

	switch (estatusPuntoAPunto) {
		case 0: //espera destino
			if(flag_dest != 0){
				estatusPuntoAPunto = 1;
				sprintf((char*)txUart, "girand");
				send_info(txUart);
			}
		break;
		case 1: //gira al destino
			deltaX_dest = posX_dest - posX_f32; //posX_i16 cuando era entero;
			deltaY_dest = posY_dest - posY_f32; //posY_i16 cuando era entero;
			anguloDest_rad_f32 = atan2f(deltaY_dest, deltaX_dest);
			anguloDest_grad_f32 = anguloDest_rad_f32 * 180.0 / M_PI; //grados en float
			anguloDest_grad_i32 = anguloDest_grad_f32 * 1000; //milesimas de grados en int32

			deltaAng_dest = anguloDest_grad_i32 - direccion_i16 * 1000;
			if (deltaAng_dest > 180000) deltaAng_dest -= 360000;
			if (deltaAng_dest < -180000) deltaAng_dest += 360000;

			if (deltaAng_dest > 17000){
				velL = -4;
				velR = +4;
				ticks_PuntoAPunto = 20;
			}else if (deltaAng_dest < -17000){
				velL = +4;
				velR = -4;
				ticks_PuntoAPunto = 20;
			}else{
				velL = 0;
				velR = 0;
				if (!ticks_PuntoAPunto){
					estatusPuntoAPunto = 2;
					sprintf((char*)txUart, "avanza");
					send_info(txUart);
				}
			}

		break;
		case 2: //avanza al destino
			deltaX_dest = posX_dest - posX_f32; //posX_i16 cuando era entero;
			deltaY_dest = posY_dest - posY_f32; //posY_i16 cuando era entero;

			if (  abs(deltaX_dest) < 1.0 && abs(deltaY_dest) < 1.0){
				estatusPuntoAPunto = 3;
				velL = 0;
				velR = 0;
				sprintf((char*)txUart, "orient");
				send_info(txUart);
				break;
			}

			anguloDest_rad_f32 = atan2f(deltaY_dest, deltaX_dest);
			anguloDest_grad_f32 = anguloDest_rad_f32 * 180.0 / M_PI; //grados en float
			anguloDest_grad_i32 = anguloDest_grad_f32 * 1000; //milesimas de grados en int32
			deltaAng_dest = anguloDest_grad_i32 - direccion_i16 * 1000;
			if (deltaAng_dest > 180000) deltaAng_dest -= 360000;
			if (deltaAng_dest < -180000) deltaAng_dest += 360000;

			if (deltaAng_dest > 17000){
				if (deltaAng_dest > 45000){
					velL = -4;
					velR = +4;
				}else{
					velL = +4;
					velR = +5;
				}
			}else if (deltaAng_dest < -17000){
				if (deltaAng_dest < -45000){
					velL = +4;
					velR = -4;
				}else{
					velL = +5;
					velR = +4;
				}
			}else{
				velL = +5;
				velR = +4;
			}

		break;
		case 3: // orienta en la coordenada angulo del destino
			deltaAng_dest = (direccion_dest - direccion_i16) * 1000;
			if (deltaAng_dest > 180000) deltaAng_dest -= 360000;
			if (deltaAng_dest < -180000) deltaAng_dest += 360000;

			if (deltaAng_dest > 17000){
				velL = -4;
				velR = +4;
			}else if (deltaAng_dest < -17000){
				velL = +4;
				velR = -4;
			}else{
				velL = 0;
				velR = 0;
				estatusPuntoAPunto = 4;
			}
		break;
		case 4: // finaliza la secuencia
			flag_dest = 0;
			estatusPuntoAPunto = 0;
			sprintf((char*)txUart, "ENDEST");
			send_info(txUart);

		break;
	}

} //fin mov_puntoAPunto ()

void velocidades (int8_t vl, int8_t vr){

	if (flag_quieto != 0){
		HAL_GPIO_WritePin(OUT_in1_GPIO_Port, OUT_in1_Pin, 0);
		HAL_GPIO_WritePin(OUT_in2_GPIO_Port, OUT_in2_Pin, 0);
		HAL_GPIO_WritePin(OUT_in4_GPIO_Port, OUT_in4_Pin, 0);
		HAL_GPIO_WritePin(OUT_in3_GPIO_Port, OUT_in3_Pin, 0);
		return;
	}

	if (vl < 0){
		HAL_GPIO_WritePin(OUT_in1_GPIO_Port, OUT_in1_Pin, 0);
		HAL_GPIO_WritePin(OUT_in2_GPIO_Port, OUT_in2_Pin, 1);
	} else if (vl > 0){
		HAL_GPIO_WritePin(OUT_in1_GPIO_Port, OUT_in1_Pin, 1);
		HAL_GPIO_WritePin(OUT_in2_GPIO_Port, OUT_in2_Pin, 0);
	} else {
		HAL_GPIO_WritePin(OUT_in1_GPIO_Port, OUT_in1_Pin, 0);
		HAL_GPIO_WritePin(OUT_in2_GPIO_Port, OUT_in2_Pin, 0);
	}

	if (vr < 0){
		HAL_GPIO_WritePin(OUT_in4_GPIO_Port, OUT_in4_Pin, 0);
		HAL_GPIO_WritePin(OUT_in3_GPIO_Port, OUT_in3_Pin, 1);
	} else if (vr > 0){
		HAL_GPIO_WritePin(OUT_in4_GPIO_Port, OUT_in4_Pin, 1);
		HAL_GPIO_WritePin(OUT_in3_GPIO_Port, OUT_in3_Pin, 0);
	} else {
		HAL_GPIO_WritePin(OUT_in4_GPIO_Port, OUT_in4_Pin, 0);
		HAL_GPIO_WritePin(OUT_in3_GPIO_Port, OUT_in3_Pin, 0);
	}

	velLFinal = abs(vl);
	velRFinal = abs(vr);

} //end velocidades()

void encoders_PWM (void){

	encoderL = __HAL_TIM_GET_COUNTER(&htim3);
	__HAL_TIM_SET_COUNTER(&htim3, 0);
	encoderR = __HAL_TIM_GET_COUNTER(&htim2);
	__HAL_TIM_SET_COUNTER(&htim2, 0);

	encoderL_delta = encoderL + encoderL_memPositivo + encoderL_memNegativo;
	encoderR_delta = encoderR + encoderR_memPositivo + encoderR_memNegativo;

	TIM4->CCR1 += velLFinal - encoderL_delta;
//	if (TIM4->CCR1 < 62) TIM4->CCR1 = 62;
//	if (TIM4->CCR1 > 82) TIM4->CCR1 = 82;

	TIM4->CCR2 += velRFinal - encoderR_delta;
//	if (TIM4->CCR2 < 62) TIM4->CCR2 = 62;
//	if (TIM4->CCR2 > 82) TIM4->CCR2 = 82;

	//avance del centro de masa
	if (velL > 0)
		distL = encoderL + encoderL_memPositivo - encoderL_memNegativo;
	else
		distL = -encoderL + encoderL_memPositivo - encoderL_memNegativo;

	if (velR > 0)
		distR = encoderR + encoderR_memPositivo - encoderR_memNegativo;
	else
		distR = -encoderR + encoderR_memPositivo - encoderR_memNegativo;

	distC = (distL + distR) >> 1;

	//acumula encoders
//	acum_encoderL += encoderL + encoderL_memPositivo - encoderL_memNegativo;
//	acum_encoderR += encoderR + encoderR_memPositivo - encoderR_memNegativo;
	acum_encoderL += encoderL_delta;
	acum_encoderR += encoderR_delta;

	encoderL_memNegativo = 0;
	encoderL_memPositivo = 0;
	encoderR_memNegativo = 0;
	encoderR_memPositivo = 0;

} //fin encoders_PWM()

void lecturaMPU9265 (void){
	//magnetometro
	mpu9265_Read_Magnet(&mpu9265);
	raw_magX = (float) (mpu9265.Magnet_X_RAW); //media empirica +359.0
	raw_magY = (float) (mpu9265.Magnet_Y_RAW); //media empirica -159.0

	magX_iirX0 = raw_magX - magX_media;
	magY_iirX0 = raw_magY - magY_media;
	if (magX_range != 0.0) magX_iirX0 /= magX_range;
	if (magY_range != 0.0) magY_iirX0 /= magY_range;

	if (!flag_iniciaIIR){
		magX = magX_iirY1 + betaIIR * (magX_iirX0 - magX_iirY1);
		magY = magY_iirY1 + betaIIR * (magY_iirX0 - magY_iirY1);

	}else{
		magX = magX_iirX0;
		magY = magY_iirX0;
		//flag_iniciaIIR = 0; //comentado -> sin filtro
	}
	//giroscopio
	mpu9265_Read_Gyro(&mpu9265);
	gyroZ = (float) (mpu9265.Gyro_Z_RAW / 131.0);
} //fin lecturaIMU()

void posicionamiento (void){
	//actualizo el angulo anterior
	last_direccion_f32 = direccion_f32;

	//calculo de angulo por magnetometro

//	sum_magX = 0;
//	sum_magY = 0;
//	for (uint8_t i = 0; i < 32; i++){
//		mpu9265_Read_Magnet(&mpu9265);
//		sum_magX += mpu9265.Magnet_X_RAW;
//		sum_magY += mpu9265.Magnet_Y_RAW;
//	} //fin for i
//	magX = (float) (sum_magX >> 5);
//	magY = (float) (sum_magY >> 5);
//
//	mpu9265_Read_Magnet(&mpu9265);
//	magX = (float) (mpu9265.Magnet_X_RAW); //media empirica +359.0
//	magY = (float) (mpu9265.Magnet_Y_RAW); //media empirica -159.0
//
//	if (magX < magX_min) magX_min = magX;
//	if (magX > magX_max) magX_max = magX;
//	if (magY < magY_min) magY_min = magY;
//	if (magY > magY_max) magY_max = magY;
//	magX_media = (magX_min + magX_max) / 2.0;
//	magY_media = (magY_min + magY_max) / 2.0;
//	magX_range = (magX_max - magX_min) / 1.0;
//	magY_range = (magY_max - magY_min) / 1.0;
//	magX -= magX_media;
//	magY -= magY_media;
//	if (magX_range != 0.0) magX /= magX_range;
//	if (magY_range != 0.0) magY /= magY_range;

	direccionMag_rad_f32 = atan2f(magY, magX); //radianes en float
	direccionMag_grad_f32 = direccionMag_rad_f32 * 180.0 / M_PI; //grados en float

	if (direccionMag_grad_f32 > 90.0){
		if (last_direccion_f32 < 0.0){
			last_direccion_f32 += 360.0;
		}
	}else if (direccionMag_grad_f32 < -90.0){
		if (last_direccion_f32 > 0.0){
			last_direccion_f32 -= 360.0;
		}
	} //fin if direccionMag_grad_f32...

	//calculo de angulo por giroscopio
	direccionGiro_grad_f32 += gyroZ * 0.21; //grados en float

	if (direccionGiro_grad_f32 < -180.0){
		direccionGiro_grad_f32 += 360.0;
	}
	if (direccionGiro_grad_f32 > 180.0){
		direccionGiro_grad_f32 -= 360.0;
	}

	//filtro complementario magnetometro y giroscopio
//	direccion_f32 = direccionMag_grad_f32 * alfa_filtroCompl + (last_direccion_f32 + gyroZ * 0.21) * (1 - alfa_filtroCompl);

	//sin el filtro, solo mag
	direccion_f32 = direccionMag_grad_f32;

	//coordenadas de posicionamiento
	direccion_rad = direccion_f32 * M_PI / 180.0; //radianes en float
	direccion_i16 = direccion_f32; //grados en int16
	posX_f32 += (float) (distC * 0.07855 * cosf(direccion_rad)); //posicion X en float
	posY_f32 += (float) (distC * 0.07855 * sinf(direccion_rad)); //posicion Y en float
	distC = 0;
	posX_i16 = posX_f32; //posicion X en int16
	posY_i16 = posY_f32; //posicion Y en int16

//	posX_f32 += (float) (distC * cosf(direccionGiro_rad_f32)); //posicion X en float
//	posY_f32 += (float) (distC * sinf(direccionGiro_rad_f32)); //posicion Y en float
//	distC = 0;
//	direccionGiro_grad_i16 = direccionGiro_grad_f32; //grados en int16
//	posX_i16 = posX_f32; //posicion X en int16
//	posY_i16 = posY_f32; //posicion Y en int16

} //fin posicionamiento ()

void OLD_posicionamiento (void){

	//saco el angulo...

	//por magnetometro
	mpu9265_Read_Magnet(&mpu9265);
	magX = (float) (mpu9265.Magnet_X_RAW); //media empirica +359.0
	magY = (float) (mpu9265.Magnet_Y_RAW); //media empirica -159.0

	if (magX < magX_min) magX_min = magX;
	if (magX > magX_max) magX_max = magX;
	if (magY < magY_min) magY_min = magY;
	if (magY > magY_max) magY_max = magY;
	magX_media = (magX_min + magX_max) / 2.0;
	magY_media = (magY_min + magY_max) / 2.0;

	magX -= magX_media;
	magY -= magY_media;
	magX /= magX_media;
	magY /= magY_media;

	direccionMag_rad_f32 = atan2f(magY, magX); //radianes en float

	posX_f32 += (float) (distC * 0.1 * cosf(direccionMag_rad_f32)); //posicion X en float
	posY_f32 += (float) (distC * 0.1 * sinf(direccionMag_rad_f32)); //posicion Y en float
	distC = 0;
	direccionMag_grad_f32 = direccionMag_rad_f32 * 180.0 / M_PI; //grados en float
	direccionMag_grad_i16 = direccionMag_grad_f32; //grados en int16
	direccion_i16 = direccionMag_grad_i16;
	posX_i16 = posX_f32; //posicion X en int16
	posY_i16 = posY_f32; //posicion Y en int16
/*
	//por giroscopio
	mpu9265_Read_Gyro(&mpu9265);
	gyroZ = (float) (mpu9265.Gyro_Z_RAW / 131.0);
	modGyroZ = abs(gyroZ * 0.21);
	if (modGyroZ > 0.5){
		direccionGiro_grad_f32 += gyroZ * 0.21; //grados en float
	}
	if (direccionGiro_grad_f32 < 0){
		direccionGiro_grad_f32 += 360.0;
	}
	if (direccionGiro_grad_f32 > 360.0){
		direccionGiro_grad_f32 -= 360.0;
	}
	direccionGiro_rad_f32 = (direccionGiro_grad_f32 * M_PI / 180.0); //radianes en float

//	posX_f32 += (float) (distC * cosf(direccionGiro_rad_f32)); //posicion X en float
//	posY_f32 += (float) (distC * sinf(direccionGiro_rad_f32)); //posicion Y en float
//	distC = 0;
//	direccionGiro_grad_i16 = direccionGiro_grad_f32; //grados en int16
//	posX_i16 = posX_f32; //posicion X en int16
//	posY_i16 = posY_f32; //posicion Y en int16
*/
	/*
	//filtro complementario magnetometro y giroscopio
	direccion_rad = coef_gyro * direccionGiro_rad_f32 + coef_mag * direccionMag_rad_f32;

	//coordenadas
	direccion_grad = direccion_rad * 180.0 / M_PI; //grados en float
	direccion_i16 = direccion_grad; //grados en int16
	posX_f32 += (float) (distC * 0.1 * cosf(direccion_rad)); //posicion X en float
	posY_f32 += (float) (distC * 0.1 * sinf(direccion_rad)); //posicion Y en float
	posX_i16 = posX_f32; //posicion X en int16
	posY_i16 = posY_f32; //posicion Y en int16
	*/

/*
	//por odometria
	direccion_rad += (float) ( (distR - distL) * RADIANES_X_PULSO); //radianes en float

	if (direccion_rad < 0){
		direccion_rad += M_TWOPI;
	}
	if (direccion_rad > M_TWOPI){
		direccion_rad -= M_TWOPI;
	}

	posX_f32 += (float) (distC * cosf(direccion_rad)); //posicion X en float
	posY_f32 += (float) (distC * sinf(direccion_rad)); //posicion Y en float
	distC = 0;
	direccion_f32 = direccion_rad * (180.0/M_PI); //grados en float
	direccion_i16 = direccion_f32; //grados en int16
	posX_i16 = posX_f32; //posicion X en int16
	posY_i16 = posY_f32; //posicion Y en int16
*/

} //fin OLD_posicionamiento ()

void test_respuesta (void){
	switch(rxUart[0]){
		case AVANCE:
//			sprintf((char *)txUart, "avan");
		break;
		case RETROCEDE:
//			sprintf((char *)txUart, "RETR");
		break;
		case GIRO_IZQ:
//			sprintf((char *)txUart, "IZQU");
		break;
		case GIRO_DER:
//			sprintf((char *)txUart, "DERE");
		break;
	} //end switch rxUart

	HAL_UART_Transmit(&huart7, txUart, 4, 20);
	HAL_UART_Receive_IT(&huart7, rxUart, 4);
} //fin test_prueba ()

void modo_funcionamiento (void){

	switch (modoFuncionamiento) {
		case AUTOMATICO:
			movimientoLibre();
		break;
		case MANUAL:
			movimientoRC();
		break;
		case CALIBRA_MAG:
			calibraMag();
		break;
		case PUNTO_A_PUNTO:
			mov_puntoAPunto();
		default:
		break;
	} //end switch modoFuncionamiento

} //end modo_funcionamiento ()

/* USER CODE END 4 */

void Error_Handler(void)
{
}

/************************ (C) COPYRIGHT STMicroelectronics *****END OF FILE****/
